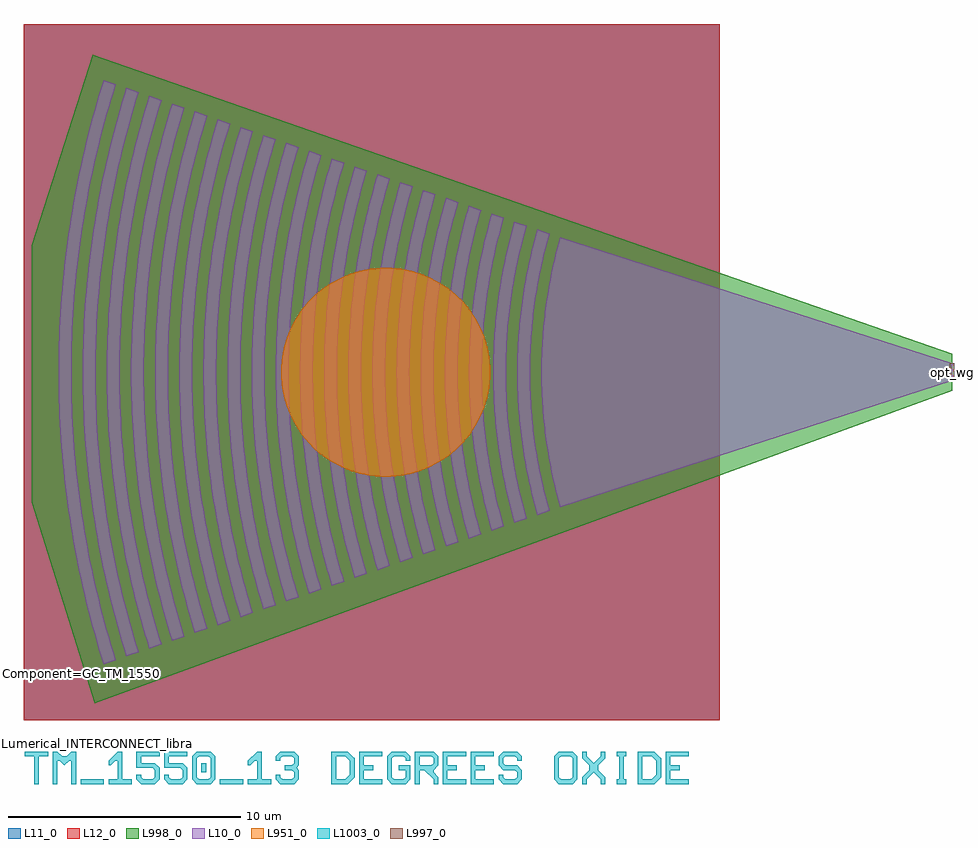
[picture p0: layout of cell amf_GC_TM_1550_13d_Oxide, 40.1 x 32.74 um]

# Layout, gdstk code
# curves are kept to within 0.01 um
import gdstk
lib = gdstk.Library(unit=1e-6, precision=1e-09)
def R(c, l, rs):  # rectangles x0, y0, x1, y1
    for r in rs: c.add(gdstk.rectangle(r[:2], r[2:], *l))
def P(c, l, *ps):  # polygons
    for p in ps: c.add(gdstk.Polygon(p, *l))
L10_0 = (10, 0)
L11_0 = (11, 0)
L12_0 = (12, 0)
L951_0 = (951, 0)
L997_0 = (997, 0)
L998_0 = (998, 0)
L1003_0 = (1003, 0)

amf_gc_tm_1550_13d_oxide = lib.new_cell('amf_GC_TM_1550_13d_Oxide')
R(amf_gc_tm_1550_13d_oxide, L10_0, [(-1,-0.375,0,0.375)])
P(amf_gc_tm_1550_13d_oxide, L10_0, [(-34.585,-11.909),(-35.039,-10.357),(-35.356,-9.104),(-35.695,-7.526),(-35.919,-6.256),(-36.102,-4.98),(-36.272,-3.378),(-36.376,-1.771),(-36.415,-0.161),(-36.389,1.449),(-36.298,3.057),(-36.141,4.66),(-35.968,5.937),(-35.755,7.209),(-35.429,8.79),(-35.039,10.357),(-34.585,11.909),(-34.056,11.726),(-34.418,10.505),(-34.814,8.965),(-35.147,7.411),(-35.416,5.846),(-35.621,4.273),(-35.74,3.01),(-35.83,1.427),(-35.855,0.159),(-35.83,-1.427),(-35.74,-3.01),(-35.621,-4.273),(-35.416,-5.846),(-35.147,-7.411),(-34.814,-8.965),(-34.418,-10.505),(-34.056,-11.726)],
  [(-35.568,-12.247),(-35.948,-10.972),(-36.363,-9.364),(-36.712,-7.741),(-36.995,-6.107),(-37.21,-4.463),(-37.334,-3.144),(-37.415,-1.821),(-37.455,-0.166),(-37.428,1.49),(-37.334,3.144),(-37.21,4.463),(-36.995,6.107),(-36.712,7.741),(-36.363,9.364),(-35.948,10.972),(-35.568,12.247),(-35.039,12.065),(-35.499,10.493),(-35.821,9.224),(-36.101,7.946),(-36.392,6.338),(-36.617,4.721),(-36.776,3.097),(-36.856,1.794),(-36.895,0.163),(-36.869,-1.468),(-36.8,-2.771),(-36.654,-4.397),(-36.442,-6.016),(-36.225,-7.304),(-35.895,-8.905),(-35.499,-10.493),(-35.039,-12.065)],
  [(-36.552,-12.586),(-37.034,-10.946),(-37.448,-9.291),(-37.794,-7.621),(-38.021,-6.276),(-38.243,-4.587),(-38.37,-3.231),(-38.468,-1.532),(-38.495,-0.17),(-38.468,1.532),(-38.37,3.231),(-38.243,4.587),(-38.021,6.276),(-37.794,7.621),(-37.448,9.291),(-37.034,10.946),(-36.552,12.586),(-36.022,12.403),(-36.497,10.788),(-36.828,9.483),(-37.182,7.84),(-37.468,6.185),(-37.687,4.521),(-37.812,3.184),(-37.908,1.509),(-37.935,0.168),(-37.919,-1.174),(-37.837,-2.849),(-37.687,-4.521),(-37.468,-6.185),(-37.182,-7.84),(-36.828,-9.483),(-36.497,-10.788),(-36.022,-12.403)],
  [(-16.885,-5.814),(-17.087,-5.051),(-17.26,-4.282),(-17.477,-3.044),(-17.575,-2.266),(-17.644,-1.486),(-17.684,-0.704),(-17.696,-0.078),(-17.684,0.704),(-17.644,1.486),(-17.575,2.266),(-17.477,3.044),(-17.26,4.282),(-17.087,5.051),(-16.885,5.814),(0,0.375),(0,-0.375)],
  [(-17.868,-6.153),(-18.084,-5.345),(-18.235,-4.695),(-18.395,-3.879),(-18.525,-3.058),(-18.606,-2.399),(-18.68,-1.573),(-18.717,-0.911),(-18.736,-0.083),(-18.723,0.745),(-18.68,1.573),(-18.606,2.399),(-18.525,3.058),(-18.395,3.879),(-18.235,4.695),(-18.084,5.345),(-17.868,6.153),(-17.339,5.97),(-17.658,4.714),(-17.901,3.445),(-18.051,2.327),(-18.122,1.526),(-18.158,0.884),(-18.176,0.08),(-18.158,-0.884),(-18.097,-1.847),(-18.014,-2.647),(-17.901,-3.445),(-17.726,-4.398),(-17.547,-5.187),(-17.339,-5.97)],
  [(-18.852,-6.491),(-19.038,-5.811),(-19.242,-4.955),(-19.413,-4.093),(-19.526,-3.401),(-19.618,-2.706),(-19.703,-1.835),(-19.756,-0.962),(-19.776,-0.087),(-19.768,0.612),(-19.728,1.486),(-19.656,2.358),(-19.551,3.227),(-19.413,4.093),(-19.279,4.783),(-19.124,5.469),(-18.852,6.491),(-18.322,6.309),(-18.503,5.647),(-18.663,4.982),(-18.894,3.81),(-18.998,3.136),(-19.082,2.46),(-19.146,1.783),(-19.189,1.104),(-19.216,0.085),(-19.203,-0.765),(-19.146,-1.783),(-19.063,-2.629),(-18.949,-3.473),(-18.769,-4.481),(-18.585,-5.315),(-18.322,-6.309)],
  [(-19.835,-6.83),(-20.079,-5.935),(-20.249,-5.214),(-20.43,-4.308),(-20.577,-3.397),(-20.669,-2.665),(-20.753,-1.748),(-20.795,-1.012),(-20.816,-0.092),(-20.802,0.828),(-20.753,1.748),(-20.669,2.665),(-20.577,3.397),(-20.43,4.308),(-20.249,5.214),(-20.079,5.935),(-19.835,6.83),(-19.306,6.647),(-19.542,5.776),(-19.707,5.074),(-19.943,3.838),(-20.049,3.128),(-20.132,2.415),(-20.195,1.701),(-20.235,0.985),(-20.256,0.09),(-20.235,-0.985),(-20.181,-1.879),(-20.072,-2.95),(-19.943,-3.838),(-19.781,-4.722),(-19.542,-5.776),(-19.306,-6.647)],
  [(-20.818,-7.168),(-21.028,-6.418),(-21.256,-5.473),(-21.448,-4.522),(-21.575,-3.758),(-21.7,-2.798),(-21.789,-1.835),(-21.841,-0.87),(-21.856,-0.097),(-21.841,0.87),(-21.789,1.835),(-21.721,2.605),(-21.603,3.566),(-21.448,4.522),(-21.256,5.473),(-21.028,6.418),(-20.818,7.168),(-20.289,6.986),(-20.492,6.255),(-20.672,5.518),(-20.83,4.778),(-20.964,4.035),(-21.076,3.288),(-21.165,2.539),(-21.231,1.788),(-21.274,1.036),(-21.296,0.094),(-21.274,-1.036),(-21.217,-1.976),(-21.101,-3.101),(-20.933,-4.221),(-20.754,-5.149),(-20.539,-6.071),(-20.289,-6.986)],
  [(-21.802,-7.507),(-22.074,-6.525),(-22.307,-5.534),(-22.501,-4.537),(-22.629,-3.735),(-22.754,-2.729),(-22.825,-1.922),(-22.88,-0.911),(-22.896,-0.101),(-22.88,0.911),(-22.825,1.922),(-22.754,2.729),(-22.629,3.735),(-22.501,4.537),(-22.307,5.534),(-22.074,6.525),(-21.802,7.507),(-21.272,7.325),(-21.487,6.558),(-21.721,5.593),(-21.918,4.621),(-22.048,3.84),(-22.154,3.056),(-22.252,2.072),(-22.313,1.086),(-22.336,0.099),(-22.32,-0.889),(-22.267,-1.875),(-22.198,-2.663),(-22.048,-3.84),(-21.918,-4.621),(-21.721,-5.593),(-21.487,-6.558),(-21.272,-7.325)],
  [(-22.785,-7.846),(-23.071,-6.819),(-23.27,-5.992),(-23.444,-5.16),(-23.624,-4.115),(-23.763,-3.064),(-23.862,-2.009),(-23.911,-1.164),(-23.936,-0.106),(-23.919,0.952),(-23.862,2.009),(-23.763,3.064),(-23.655,3.905),(-23.521,4.743),(-23.316,5.785),(-23.071,6.819),(-22.785,7.846),(-22.256,7.663),(-22.534,6.661),(-22.773,5.65),(-22.972,4.632),(-23.103,3.814),(-23.208,2.992),(-23.304,1.962),(-23.352,1.137),(-23.376,0.103),(-23.36,-0.93),(-23.304,-1.962),(-23.208,-2.992),(-23.103,-3.814),(-22.972,-4.632),(-22.773,-5.65),(-22.534,-6.661),(-22.256,-7.663)],
  [(-23.768,-8.184),(-24.012,-7.329),(-24.228,-6.468),(-24.417,-5.601),(-24.649,-4.293),(-24.795,-3.197),(-24.881,-2.317),(-24.95,-1.214),(-24.975,-0.11),(-24.965,0.773),(-24.914,1.876),(-24.819,2.977),(-24.681,4.074),(-24.501,5.166),(-24.326,6.035),(-24.068,7.114),(-23.768,8.184),(-23.239,8.002),(-23.531,6.955),(-23.782,5.9),(-23.953,5.051),(-24.129,3.983),(-24.263,2.91),(-24.34,2.05),(-24.399,0.971),(-24.415,0.108),(-24.399,-0.971),(-24.34,-2.05),(-24.263,-2.91),(-24.129,-3.983),(-23.953,-5.051),(-23.782,-5.9),(-23.531,-6.955),(-23.239,-8.002)],
  [(-24.752,-8.523),(-25.066,-7.409),(-25.285,-6.511),(-25.518,-5.381),(-25.673,-4.471),(-25.826,-3.33),(-25.934,-2.184),(-25.988,-1.265),(-26.015,-0.115),(-26.005,0.805),(-25.951,1.954),(-25.851,3.101),(-25.707,4.244),(-25.518,5.381),(-25.285,6.511),(-25.066,7.409),(-24.752,8.523),(-24.222,8.34),(-24.529,7.25),(-24.742,6.371),(-24.97,5.265),(-25.155,4.152),(-25.271,3.258),(-25.376,2.137),(-25.438,1.013),(-25.455,0.113),(-25.445,-0.788),(-25.392,-1.912),(-25.295,-3.034),(-25.155,-4.152),(-24.97,-5.265),(-24.742,-6.371),(-24.529,-7.25),(-24.222,-8.34)],
  [(-25.735,-8.861),(-26.063,-7.704),(-26.292,-6.77),(-26.491,-5.831),(-26.698,-4.65),(-26.858,-3.463),(-26.971,-2.271),(-27.037,-1.076),(-27.055,-0.12),(-27.037,1.076),(-26.988,2.032),(-26.884,3.225),(-26.733,4.413),(-26.536,5.595),(-26.292,6.77),(-26.063,7.704),(-25.735,8.861),(-25.206,8.679),(-25.526,7.545),(-25.801,6.401),(-25.988,5.48),(-26.181,4.322),(-26.328,3.158),(-26.413,2.224),(-26.468,1.288),(-26.495,0.117),(-26.477,-1.054),(-26.413,-2.224),(-26.328,-3.158),(-26.181,-4.322),(-25.988,-5.48),(-25.801,-6.401),(-25.526,-7.545),(-25.206,-8.679)],
  [(-26.718,-9.2),(-27.06,-7.998),(-27.354,-6.786),(-27.554,-5.81),(-27.76,-4.582),(-27.917,-3.349),(-28.007,-2.358),(-28.076,-1.118),(-28.095,-0.124),(-28.084,0.869),(-28.025,2.11),(-27.917,3.349),(-27.76,4.582),(-27.554,5.81),(-27.354,6.786),(-27.06,7.998),(-26.718,9.2),(-26.189,9.018),(-26.523,7.84),(-26.757,6.89),(-26.96,5.934),(-27.171,4.732),(-27.334,3.524),(-27.43,2.554),(-27.507,1.339),(-27.535,0.122),(-27.516,-1.096),(-27.449,-2.311),(-27.361,-3.282),(-27.207,-4.491),(-27.006,-5.694),(-26.757,-6.89),(-26.523,-7.84),(-26.189,-9.018)],
  [(-27.702,-9.538),(-28.058,-8.293),(-28.306,-7.289),(-28.571,-6.024),(-28.786,-4.752),(-28.921,-3.729),(-29.043,-2.446),(-29.105,-1.417),(-29.135,-0.129),(-29.115,1.159),(-29.062,2.189),(-28.949,3.472),(-28.786,4.752),(-28.571,6.024),(-28.306,7.289),(-28.058,8.293),(-27.702,9.538),(-27.172,9.356),(-27.521,8.135),(-27.764,7.149),(-28.023,5.909),(-28.195,4.911),(-28.365,3.657),(-28.465,2.651),(-28.545,1.389),(-28.575,0.126),(-28.555,-1.137),(-28.485,-2.399),(-28.393,-3.406),(-28.233,-4.66),(-28.069,-5.66),(-27.82,-6.902),(-27.521,-8.135),(-27.172,-9.356)],
  [(-28.685,-9.877),(-29.055,-8.588),(-29.373,-7.287),(-29.638,-5.976),(-29.812,-4.921),(-29.982,-3.596),(-30.08,-2.533),(-30.144,-1.467),(-30.175,-0.133),(-30.154,1.201),(-30.08,2.533),(-29.982,3.596),(-29.812,4.921),(-29.638,5.976),(-29.373,7.287),(-29.055,8.588),(-28.685,9.877),(-28.156,9.695),(-28.45,8.683),(-28.771,7.409),(-29.041,6.123),(-29.22,5.089),(-29.397,3.79),(-29.522,2.486),(-29.595,1.178),(-29.615,0.131),(-29.595,-1.178),(-29.522,-2.486),(-29.397,-3.79),(-29.259,-4.83),(-29.041,-6.123),(-28.771,-7.409),(-28.45,-8.683),(-28.156,-9.695)],
  [(-29.668,-10.216),(-29.98,-9.15),(-30.32,-7.808),(-30.554,-6.725),(-30.796,-5.364),(-30.984,-3.995),(-31.094,-2.895),(-31.182,-1.518),(-31.215,-0.138),(-31.202,0.966),(-31.136,2.345),(-31.014,3.72),(-30.838,5.09),(-30.657,6.182),(-30.382,7.538),(-30.052,8.883),(-29.668,10.216),(-29.139,10.033),(-29.444,8.987),(-29.778,7.668),(-30.059,6.338),(-30.244,5.268),(-30.428,3.923),(-30.558,2.573),(-30.634,1.22),(-30.655,0.136),(-30.634,-1.22),(-30.558,-2.573),(-30.428,-3.923),(-30.285,-4.999),(-30.059,-6.338),(-29.778,-7.668),(-29.444,-8.987),(-29.139,-10.033)],
  [(-30.652,-10.554),(-30.975,-9.454),(-31.328,-8.067),(-31.624,-6.668),(-31.821,-5.542),(-32.015,-4.128),(-32.152,-2.707),(-32.233,-1.283),(-32.255,-0.143),(-32.233,1.283),(-32.173,2.423),(-32.047,3.844),(-31.864,5.26),(-31.624,6.668),(-31.328,8.067),(-30.975,9.454),(-30.652,10.554),(-30.122,10.372),(-30.513,9.019),(-30.785,7.927),(-31.076,6.553),(-31.269,5.446),(-31.46,4.056),(-31.572,2.94),(-31.662,1.541),(-31.695,0.14),(-31.682,-0.981),(-31.615,-2.381),(-31.491,-3.777),(-31.311,-5.169),(-31.128,-6.276),(-30.848,-7.653),(-30.513,-9.019),(-30.122,-10.372)],
  [(-31.635,-10.893),(-32.047,-9.472),(-32.335,-8.326),(-32.642,-6.883),(-32.845,-5.721),(-33.046,-4.261),(-33.189,-2.795),(-33.272,-1.325),(-33.295,-0.147),(-33.272,1.325),(-33.189,2.795),(-33.08,3.968),(-32.89,5.429),(-32.642,6.883),(-32.335,8.326),(-32.047,9.472),(-31.635,10.893),(-31.106,10.711),(-31.51,9.314),(-31.857,7.904),(-32.094,6.767),(-32.338,5.338),(-32.524,3.901),(-32.631,2.748),(-32.712,1.302),(-32.735,0.145),(-32.712,-1.302),(-32.652,-2.459),(-32.524,-3.901),(-32.338,-5.338),(-32.094,-6.767),(-31.857,-7.904),(-31.51,-9.314),(-31.106,-10.711)],
  [(-32.618,-11.231),(-32.964,-10.061),(-33.342,-8.586),(-33.601,-7.396),(-33.87,-5.899),(-34.078,-4.394),(-34.225,-2.882),(-34.299,-1.669),(-34.335,-0.152),(-34.311,1.366),(-34.225,2.882),(-34.078,4.394),(-33.916,5.599),(-33.659,7.097),(-33.342,8.586),(-32.964,10.061),(-32.618,11.231),(-32.089,11.049),(-32.507,9.609),(-32.867,8.154),(-33.167,6.688),(-33.364,5.507),(-33.556,4.025),(-33.667,2.835),(-33.751,1.344),(-33.775,0.149),(-33.761,-1.045),(-33.689,-2.537),(-33.556,-4.025),(-33.364,-5.507),(-33.167,-6.688),(-32.867,-8.154),(-32.507,-9.609),(-32.089,-11.049)],
  [(-33.602,-11.57),(-34.042,-10.062),(-34.42,-8.539),(-34.677,-7.312),(-34.942,-5.768),(-35.145,-4.216),(-35.261,-2.969),(-35.35,-1.407),(-35.375,-0.156),(-35.35,1.407),(-35.284,2.657),(-35.145,4.216),(-34.942,5.768),(-34.677,7.312),(-34.42,8.539),(-34.042,10.062),(-33.602,11.57),(-33.072,11.388),(-33.505,9.903),(-33.807,8.705),(-34.129,7.196),(-34.343,5.981),(-34.554,4.455),(-34.703,2.922),(-34.778,1.693),(-34.815,0.154),(-34.8,-1.077),(-34.726,-2.615),(-34.589,-4.149),(-34.39,-5.677),(-34.129,-7.196),(-33.807,-8.705),(-33.505,-9.903),(-33.072,-11.388)])
R(amf_gc_tm_1550_13d_oxide, L11_0, [(-40,-15,-10,15)])
R(amf_gc_tm_1550_13d_oxide, L12_0, [(-40,-15,-10,15)])
P(amf_gc_tm_1550_13d_oxide, L951_0, [(-24.62,-4.5),(-25.06,-4.457),(-25.494,-4.37),(-25.917,-4.242),(-26.325,-4.073),(-26.715,-3.864),(-27.083,-3.619),(-27.425,-3.338),(-27.737,-3.026),(-28.018,-2.684),(-28.263,-2.316),(-28.472,-1.926),(-28.641,-1.518),(-28.769,-1.095),(-28.856,-0.661),(-28.899,-0.221),(-28.899,0.221),(-28.856,0.661),(-28.769,1.095),(-28.641,1.518),(-28.472,1.926),(-28.263,2.316),(-28.018,2.684),(-27.737,3.026),(-27.425,3.338),(-27.083,3.619),(-26.715,3.864),(-26.325,4.073),(-25.917,4.242),(-25.494,4.37),(-25.06,4.457),(-24.62,4.5),(-24.178,4.5),(-23.738,4.457),(-23.304,4.37),(-22.881,4.242),(-22.473,4.073),(-22.083,3.864),(-21.715,3.619),(-21.373,3.338),(-21.061,3.026),(-20.78,2.684),(-20.535,2.316),(-20.326,1.926),(-20.157,1.518),(-20.029,1.095),(-19.942,0.661),(-19.899,0.221),(-19.899,-0.221),(-19.942,-0.661),(-20.029,-1.095),(-20.157,-1.518),(-20.326,-1.926),(-20.535,-2.316),(-20.78,-2.684),(-21.061,-3.026),(-21.373,-3.338),(-21.715,-3.619),(-22.083,-3.864),(-22.473,-4.073),(-22.881,-4.242),(-23.304,-4.37),(-23.738,-4.457),(-24.178,-4.5)])
P(amf_gc_tm_1550_13d_oxide, L998_0, [(-36.93,-14.26),(-39.65,-5.6),(-39.65,5.474),(-37.01,13.68),(0,0.8),(0,-0.8)])
R(amf_gc_tm_1550_13d_oxide, L1003_0, [(-37.54,-17.74,-36.54,-17.54), (-31.54,-17.74,-30.54,-17.54), (-32.34,-17.24,-32.14,-16.84)])
P(amf_gc_tm_1550_13d_oxide, L1003_0, [(-39.54,-17.74),(-39.54,-16.54),(-39.94,-16.54),(-39.94,-16.34),(-38.94,-16.34),(-38.94,-16.54),(-39.34,-16.54),(-39.34,-17.74)],
  [(-38.74,-17.74),(-38.74,-16.34),(-38.54,-16.34),(-38.34,-16.54),(-38.14,-16.54),(-37.94,-16.34),(-37.74,-16.34),(-37.74,-17.74),(-37.94,-17.74),(-37.94,-16.74),(-38.04,-16.74),(-38.24,-16.94),(-38.44,-16.74),(-38.54,-16.74),(-38.54,-17.74)],
  [(-36.34,-17.74),(-36.34,-17.54),(-35.94,-17.54),(-35.94,-16.74),(-36.04,-16.74),(-36.24,-16.94),(-36.34,-16.94),(-36.34,-16.74),(-35.94,-16.34),(-35.74,-16.34),(-35.74,-17.54),(-35.34,-17.54),(-35.34,-17.74)],
  [(-34.94,-17.74),(-35.14,-17.54),(-35.14,-17.34),(-34.94,-17.34),(-34.94,-17.44),(-34.84,-17.54),(-34.44,-17.54),(-34.34,-17.44),(-34.34,-17.14),(-34.44,-17.04),(-35.14,-17.04),(-35.14,-16.34),(-34.14,-16.34),(-34.14,-16.54),(-34.94,-16.54),(-34.94,-16.84),(-34.34,-16.84),(-34.14,-17.04),(-34.14,-17.54),(-34.34,-17.74)],
  [(-33.74,-17.74),(-33.94,-17.54),(-33.94,-17.34),(-33.74,-17.34),(-33.74,-17.44),(-33.64,-17.54),(-33.24,-17.54),(-33.14,-17.44),(-33.14,-17.14),(-33.24,-17.04),(-33.94,-17.04),(-33.94,-16.34),(-32.94,-16.34),(-32.94,-16.54),(-33.74,-16.54),(-33.74,-16.84),(-33.14,-16.84),(-32.94,-17.04),(-32.94,-17.54),(-33.14,-17.74)],
  [(-32.54,-17.74),(-32.74,-17.54),(-32.74,-16.54),(-32.54,-16.34),(-31.94,-16.34),(-31.74,-16.54),(-32.44,-16.54),(-32.54,-16.64),(-32.54,-17.44),(-32.44,-17.54),(-32.04,-17.54),(-31.94,-17.44),(-31.94,-16.64),(-32.04,-16.54),(-31.74,-16.54),(-31.74,-17.54),(-31.94,-17.74)],
  [(-30.34,-17.74),(-30.34,-17.54),(-29.94,-17.54),(-29.94,-16.74),(-30.04,-16.74),(-30.24,-16.94),(-30.34,-16.94),(-30.34,-16.74),(-29.94,-16.34),(-29.74,-16.34),(-29.74,-17.54),(-29.34,-17.54),(-29.34,-17.74)],
  [(-28.94,-17.74),(-29.14,-17.54),(-29.14,-17.34),(-28.94,-17.34),(-28.94,-17.44),(-28.84,-17.54),(-28.44,-17.54),(-28.34,-17.44),(-28.34,-17.24),(-28.44,-17.14),(-28.74,-17.14),(-28.74,-16.94),(-28.44,-16.94),(-28.34,-16.84),(-28.34,-16.64),(-28.44,-16.54),(-28.84,-16.54),(-28.94,-16.64),(-28.94,-16.74),(-29.14,-16.74),(-29.14,-16.54),(-28.94,-16.34),(-28.34,-16.34),(-28.14,-16.54),(-28.14,-16.94),(-28.24,-17.04),(-28.14,-17.14),(-28.14,-17.54),(-28.34,-17.74)],
  [(-26.74,-17.74),(-26.74,-16.34),(-26.04,-16.34),(-25.84,-16.54),(-26.54,-16.54),(-26.54,-17.54),(-26.14,-17.54),(-25.94,-17.34),(-25.94,-16.74),(-26.14,-16.54),(-25.84,-16.54),(-25.74,-16.64),(-25.74,-17.44),(-26.04,-17.74)],
  [(-25.54,-17.74),(-25.54,-16.34),(-24.54,-16.34),(-24.54,-16.54),(-25.34,-16.54),(-25.34,-16.94),(-24.94,-16.94),(-24.94,-17.14),(-25.34,-17.14),(-25.34,-17.54),(-24.54,-17.54),(-24.54,-17.74)],
  [(-24.14,-17.74),(-24.34,-17.54),(-24.34,-16.54),(-24.14,-16.34),(-23.54,-16.34),(-23.34,-16.54),(-23.34,-16.74),(-23.54,-16.74),(-23.54,-16.64),(-23.64,-16.54),(-24.04,-16.54),(-24.14,-16.64),(-24.14,-17.44),(-24.04,-17.54),(-23.64,-17.54),(-23.54,-17.44),(-23.54,-17.14),(-23.84,-17.14),(-23.84,-16.94),(-23.34,-16.94),(-23.34,-17.54),(-23.54,-17.74)],
  [(-23.14,-17.74),(-23.14,-16.34),(-22.34,-16.34),(-22.14,-16.54),(-22.94,-16.54),(-22.94,-16.94),(-22.44,-16.94),(-22.34,-16.84),(-22.34,-16.64),(-22.44,-16.54),(-22.14,-16.54),(-22.14,-16.94),(-22.34,-17.14),(-22.34,-17.24),(-22.14,-17.44),(-22.14,-17.74),(-22.34,-17.74),(-22.34,-17.54),(-22.74,-17.14),(-22.94,-17.14),(-22.94,-17.74)],
  [(-21.94,-17.74),(-21.94,-16.34),(-20.94,-16.34),(-20.94,-16.54),(-21.74,-16.54),(-21.74,-16.94),(-21.34,-16.94),(-21.34,-17.14),(-21.74,-17.14),(-21.74,-17.54),(-20.94,-17.54),(-20.94,-17.74)],
  [(-20.74,-17.74),(-20.74,-16.34),(-19.74,-16.34),(-19.74,-16.54),(-20.54,-16.54),(-20.54,-16.94),(-20.14,-16.94),(-20.14,-17.14),(-20.54,-17.14),(-20.54,-17.54),(-19.74,-17.54),(-19.74,-17.74)],
  [(-19.34,-17.74),(-19.54,-17.54),(-19.54,-17.34),(-19.34,-17.34),(-19.34,-17.44),(-19.24,-17.54),(-18.84,-17.54),(-18.74,-17.44),(-18.74,-17.24),(-18.84,-17.14),(-19.34,-17.14),(-19.54,-16.94),(-19.54,-16.54),(-19.34,-16.34),(-18.74,-16.34),(-18.54,-16.54),(-18.54,-16.74),(-18.74,-16.74),(-18.74,-16.64),(-18.84,-16.54),(-19.24,-16.54),(-19.34,-16.64),(-19.34,-16.84),(-19.24,-16.94),(-18.74,-16.94),(-18.54,-17.14),(-18.54,-17.54),(-18.74,-17.74)],
  [(-16.94,-17.74),(-17.14,-17.54),(-17.14,-16.54),(-16.94,-16.34),(-16.34,-16.34),(-16.14,-16.54),(-16.14,-17.04),(-16.34,-17.04),(-16.34,-16.64),(-16.44,-16.54),(-16.84,-16.54),(-16.94,-16.64),(-16.94,-17.44),(-16.84,-17.54),(-16.44,-17.54),(-16.34,-17.44),(-16.34,-17.04),(-16.14,-17.04),(-16.14,-17.54),(-16.34,-17.74)],
  [(-15.94,-17.74),(-15.94,-17.44),(-15.64,-17.14),(-15.64,-16.94),(-15.94,-16.64),(-15.94,-16.34),(-15.74,-16.34),(-15.74,-16.54),(-15.44,-16.84),(-15.14,-16.54),(-15.14,-16.34),(-14.94,-16.34),(-14.94,-16.64),(-15.24,-16.94),(-15.24,-17.14),(-14.94,-17.44),(-14.94,-17.74),(-15.14,-17.74),(-15.14,-17.54),(-15.44,-17.24),(-15.74,-17.54),(-15.74,-17.74)],
  [(-14.44,-17.74),(-14.44,-17.54),(-14.34,-17.54),(-14.34,-16.54),(-14.44,-16.54),(-14.44,-16.34),(-14.04,-16.34),(-14.04,-16.54),(-14.14,-16.54),(-14.14,-17.54),(-14.04,-17.54),(-14.04,-17.74)],
  [(-13.54,-17.74),(-13.54,-16.34),(-12.84,-16.34),(-12.64,-16.54),(-13.34,-16.54),(-13.34,-17.54),(-12.94,-17.54),(-12.74,-17.34),(-12.74,-16.74),(-12.94,-16.54),(-12.64,-16.54),(-12.54,-16.64),(-12.54,-17.44),(-12.84,-17.74)],
  [(-12.34,-17.74),(-12.34,-16.34),(-11.34,-16.34),(-11.34,-16.54),(-12.14,-16.54),(-12.14,-16.94),(-11.74,-16.94),(-11.74,-17.14),(-12.14,-17.14),(-12.14,-17.54),(-11.34,-17.54),(-11.34,-17.74)])
amf_gc_tm_1550_13d_oxide.add(gdstk.FlexPath([(-0.1,0),(0.1,0)], 0.75, ends="flush", simple_path=True, layer=997, datatype=0))  # L997_0
amf_gc_tm_1550_13d_oxide.add(gdstk.Label('opt_wg', (0,0), layer=997, texttype=0))
amf_gc_tm_1550_13d_oxide.add(gdstk.Label('Lumerical_INTERCONNECT_library=Design kits/SiEPIC_AMF', (-39,-16), layer=998, texttype=0))
amf_gc_tm_1550_13d_oxide.add(gdstk.Label('Component=GC_TM_1550', (-39,-13), layer=998, texttype=0))

lib.write_gds('amf_GC_TM_1550_13d_Oxide.gds')
